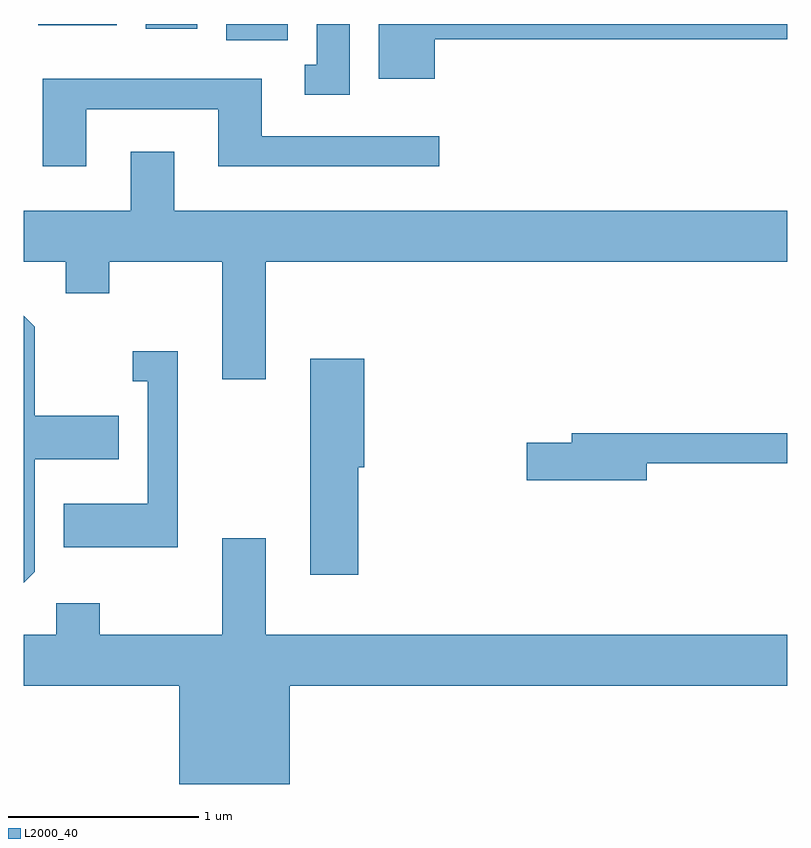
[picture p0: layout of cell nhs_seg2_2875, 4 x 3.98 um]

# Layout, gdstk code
import gdstk
lib = gdstk.Library(unit=1e-6, precision=1e-09)
def R(c, l, rs):  # rectangles x0, y0, x1, y1
    for r in rs: c.add(gdstk.rectangle(r[:2], r[2:], *l))
def P(c, l, *ps):  # polygons
    for p in ps: c.add(gdstk.Polygon(p, *l))
L2000_40 = (2000, 40)

nhs_seg2_2875 = lib.new_cell('nhs_seg2_2875')
R(nhs_seg2_2875, L2000_40, [(270.671,1031.716,270.994,1031.802), (270.251,1031.776,270.519,1031.802), (269.686,1031.796,270.099,1031.802)])
P(nhs_seg2_2875, L2000_40, [(271.319,1031.802),(271.146,1031.802),(271.146,1031.589),(271.083,1031.589),(271.083,1031.431),(271.319,1031.431)],
  [(271.764,1031.721),(273.611,1031.721),(273.611,1031.802),(271.471,1031.802),(271.471,1031.516),(271.764,1031.516)],
  [(269.939,1031.356),(270.631,1031.356),(270.631,1031.056),(271.788,1031.056),(271.788,1031.214),(270.859,1031.214),(270.859,1031.514),(269.711,1031.514),(269.711,1031.056),(269.939,1031.056)],
  [(270.879,1030.556),(273.611,1030.556),(273.611,1030.824),(270.399,1030.824),(270.399,1031.134),(270.171,1031.134),(270.171,1030.824),(269.611,1030.824),(269.611,1030.556),(269.831,1030.556),(269.831,1030.391),(270.059,1030.391),(270.059,1030.556),(270.651,1030.556),(270.651,1029.941),(270.879,1029.941)],
  [(269.669,1028.934),(269.669,1029.521),(270.109,1029.521),(270.109,1029.749),(269.669,1029.749),(269.669,1030.217),(269.611,1030.275),(269.611,1028.876)],
  [(270.419,1030.089),(270.183,1030.089),(270.183,1029.931),(270.261,1029.931),(270.261,1029.289),(269.821,1029.289),(269.821,1029.061),(270.419,1029.061)],
  [(271.364,1029.481),(271.394,1029.481),(271.394,1030.049),(271.111,1030.049),(271.111,1028.916),(271.364,1028.916)],
  [(272.874,1029.501),(273.611,1029.501),(273.611,1029.659),(272.481,1029.659),(272.481,1029.609),(272.246,1029.609),(272.246,1029.411),(272.874,1029.411)],
  [(271.004,1028.336),(273.611,1028.336),(273.611,1028.604),(270.879,1028.604),(270.879,1029.109),(270.651,1029.109),(270.651,1028.604),(270.009,1028.604),(270.009,1028.769),(269.781,1028.769),(269.781,1028.604),(269.611,1028.604),(269.611,1028.336),(270.426,1028.336),(270.426,1027.821),(271.004,1027.821)])

lib.write_gds('nhs_seg2_2875.gds')
